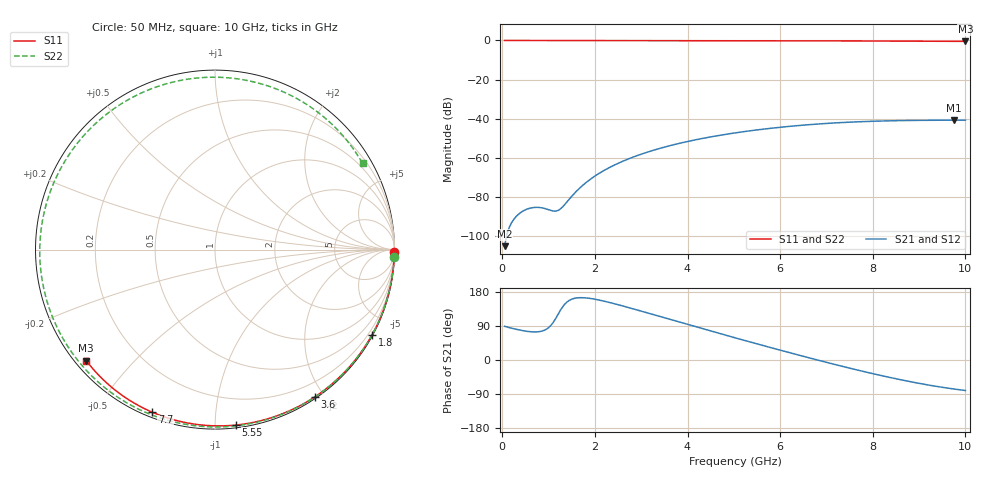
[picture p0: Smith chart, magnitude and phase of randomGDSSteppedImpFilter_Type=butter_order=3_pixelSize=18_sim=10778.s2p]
! freq	dB(S11)	phase(S11)	dB(S12)	phase(S12)
!  dB(S21)	phase(S21)	dB(S22)	phase(S22)
!S-par simulation data
#  GHz  S  DB  R 50
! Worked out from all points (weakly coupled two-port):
!   200 points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, 50 MHz to 10 GHz, reference 50 ohm
!   highest |S21| = -40.70 dB at 9.75 GHz (marker M1); lowest = -105.0 dB at 50 MHz (marker M2)
!   lowest |S11| = -0.5 dB at 10 GHz (marker M3), VSWR 36.80, Z = 1.55 - j18.6 ohm
!   |S11| at or under -10 dB: nowhere
!   |S22| runs from -0.4 to 0.0 dB; largest |S21 - S12| = 0
!   S11 on the Smith chart (normalised r, x): 50 MHz: open; 1.8 GHz: 0.03, -3.93; 3.6 GHz: 0.02, -1.89; 5.55 GHz: 0.02, -1.13; 7.7 GHz: 0.02, -0.69; 10 GHz: 0.03, -0.37
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0.05  -0.00 -0.8  -104.99 88.8  -104.99 88.8  -0.00 -2.3
0.35  -0.01 -5.6  -88.69 79.7  -88.69 79.7  -0.02 -16.1
0.7  -0.01 -11.2  -85.21 74.0  -85.21 74.0  -0.04 -31.9
1.1  -0.02 -17.6  -87.05 99.1  -87.05 99.1  -0.06 -49.4
1.45  -0.03 -23.1  -80.89 157.6  -80.89 157.6  -0.08 -64.1
1.75  -0.04 -27.8  -73.67 164.4  -73.67 164.4  -0.09 -76.2
1.8  -0.04 -28.6  -72.68 163.9  -72.68 163.9  -0.09 -78.1
2.1  -0.04 -33.2  -67.70 157.9  -67.70 157.9  -0.10 -89.6
2.45  -0.05 -38.6  -63.26 147.6  -63.26 147.6  -0.11 -102.4
2.9  -0.06 -45.4  -58.87 132.4  -58.87 132.4  -0.13 -117.9
3.4  -0.07 -52.8  -55.09 114.9  -55.09 114.9  -0.15 -134.0
3.6  -0.08 -55.8  -53.82 107.9  -53.82 107.9  -0.15 -140.3
4.3  -0.09 -65.9  -50.10 83.4  -50.10 83.4  -0.18 -161.1
5.05  -0.12 -76.4  -47.10 57.7  -47.10 57.7  -0.21 177.5
5.55  -0.14 -83.2  -45.51 40.9  -45.51 40.9  -0.23 163.6
6.1  -0.16 -90.5  -44.07 22.7  -44.07 22.7  -0.26 148.2
6.7  -0.19 -98.4  -42.84 3.3  -42.84 3.3  -0.29 131.2
7.7  -0.25 -111.1  -41.49 -27.4  -41.49 -27.4  -0.34 102.0
8.35  -0.31 -119.1  -41.02 -45.6  -41.02 -45.6  -0.36 82.3
9.05  -0.37 -127.7  -40.77 -62.7  -40.77 -62.7  -0.38 60.4
9.75  -0.44 -136.2  -40.70 -76.5  -40.70 -76.5  -0.41 38.2
10  -0.47 -139.2  -40.71 -80.5  -40.71 -80.5  -0.43 30.3
